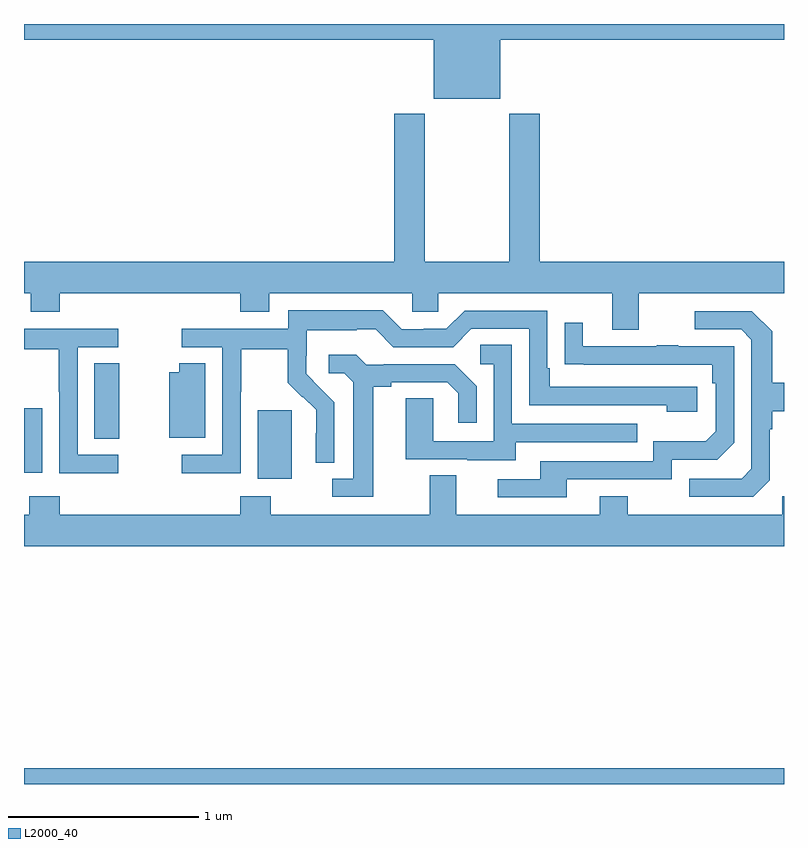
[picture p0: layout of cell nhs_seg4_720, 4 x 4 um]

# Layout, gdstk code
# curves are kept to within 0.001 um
import gdstk
lib = gdstk.Library(unit=1e-6, precision=1e-09)
def R(c, l, rs):  # rectangles x0, y0, x1, y1
    for r in rs: c.add(gdstk.rectangle(r[:2], r[2:], *l))
def P(c, l, *ps):  # polygons
    for p in ps: c.add(gdstk.Polygon(p, *l))
L2000_40 = (2000, 40)

nhs_seg4_720 = lib.new_cell('nhs_seg4_720')
R(nhs_seg4_720, L2000_40, [(147,796.9,151,796.984), (148.229,798.506,148.408,798.867), (147,798.537,147.097,798.877), (147.371,798.718,147.502,799.115)])
P(nhs_seg4_720, L2000_40, [(147,800.816),(149.156,800.816),(149.156,800.507),(149.506,800.507),(149.506,800.816),(151,800.816),(151,800.9),(147,800.9)],
  [(150.235,799.484),(151,799.484),(151,799.648),(149.714,799.648),(149.714,800.428),(149.554,800.428),(149.554,799.648),(149.109,799.648),(149.109,800.428),(148.949,800.428),(148.949,799.648),(147,799.648),(147,799.484),(147.035,799.484),(147.035,799.385),(147.188,799.385),(147.188,799.484),(148.139,799.484),(148.139,799.385),(148.291,799.385),(148.291,799.484),(149.043,799.484),(149.043,799.386),(149.181,799.386),(149.181,799.484),(150.095,799.484),(150.095,799.29),(150.235,799.29)],
  [(148.14,798.964),(148.143,798.964),(148.143,799.188),(148.387,799.188),(148.387,799.013),(148.464,798.936),(148.467,798.939),(148.538,798.869),(148.538,798.746),(148.536,798.746),(148.536,798.592),(148.632,798.592),(148.632,798.91),(148.486,799.058),(148.486,799.155),(148.488,799.155),(148.488,799.289),(148.751,799.289),(148.751,799.293),(148.851,799.293),(148.944,799.2),(149.259,799.2),(149.355,799.296),(149.658,799.296),(149.658,798.894),(150.383,798.894),(150.383,798.86),(150.544,798.86),(150.544,798.99),(149.767,798.99),(149.767,799.087),(149.754,799.087),(149.754,799.392),(149.319,799.392),(149.223,799.296),(149.105,799.296),(149.105,799.293),(148.989,799.293),(148.889,799.393),(148.392,799.393),(148.392,799.296),(147.831,799.296),(147.831,799.2),(148.044,799.2),(148.044,798.633),(147.831,798.633),(147.831,798.535),(148.14,798.535)],
  [(150.924,798.498),(150.924,798.767),(150.937,798.767),(150.937,798.863),(151,798.863),(151,799.011),(150.937,799.011),(150.937,799.283),(150.831,799.389),(150.531,799.389),(150.531,799.293),(150.774,799.293),(150.828,799.239),(150.828,798.558),(150.777,798.507),(150.501,798.507),(150.501,798.411),(150.837,798.411)],
  [(149.857,798.504),(150.408,798.504),(150.408,798.606),(150.648,798.606),(150.738,798.696),(150.738,799.203),(150.443,799.203),(150.443,799.208),(150.331,799.208),(150.331,799.203),(149.941,799.203),(149.941,799.327),(149.845,799.327),(149.845,799.108),(150.622,799.107),(150.622,799.01),(150.642,799.01),(150.642,798.756),(150.589,798.703),(150.312,798.703),(150.312,798.6),(149.717,798.6),(149.717,798.504),(149.493,798.504),(149.493,798.408),(149.857,798.408)],
  [(147.496,798.633),(147.282,798.633),(147.282,799.2),(147.496,799.2),(147.496,799.296),(147,799.296),(147,799.188),(147.184,799.188),(147.184,798.964),(147.186,798.964),(147.186,798.535),(147.496,798.535)],
  [(149.587,798.699),(150.227,798.699),(150.227,798.795),(149.568,798.795),(149.568,799.211),(149.4,799.211),(149.4,799.11),(149.472,799.11),(149.472,798.705),(149.154,798.705),(149.154,798.929),(149.009,798.929),(149.009,798.609),(149.333,798.609),(149.333,798.605),(149.587,798.605)],
  [(148.837,798.992),(148.933,798.992),(148.933,799.014),(149.228,799.014),(149.285,798.957),(149.285,798.801),(149.382,798.801),(149.382,798.994),(149.266,799.11),(148.894,799.11),(148.894,799.107),(148.8,799.107),(148.748,799.159),(148.605,799.159),(148.605,799.062),(148.686,799.062),(148.733,799.015),(148.733,798.507),(148.623,798.507),(148.623,798.411),(148.837,798.411)],
  [(147.955,799.115),(147.817,799.115),(147.817,799.066),(147.764,799.066),(147.764,798.722),(147.955,798.722)],
  [(151,798.415),(150.99,798.415),(150.99,798.316),(150.177,798.316),(150.177,798.415),(150.029,798.415),(150.029,798.316),(149.275,798.316),(149.275,798.524),(149.135,798.524),(149.135,798.316),(148.299,798.316),(148.299,798.415),(148.139,798.415),(148.139,798.316),(147.188,798.316),(147.188,798.415),(147.028,798.415),(147.028,798.316),(147,798.316),(147,798.152),(151,798.152)])

lib.write_gds('nhs_seg4_720.gds')
